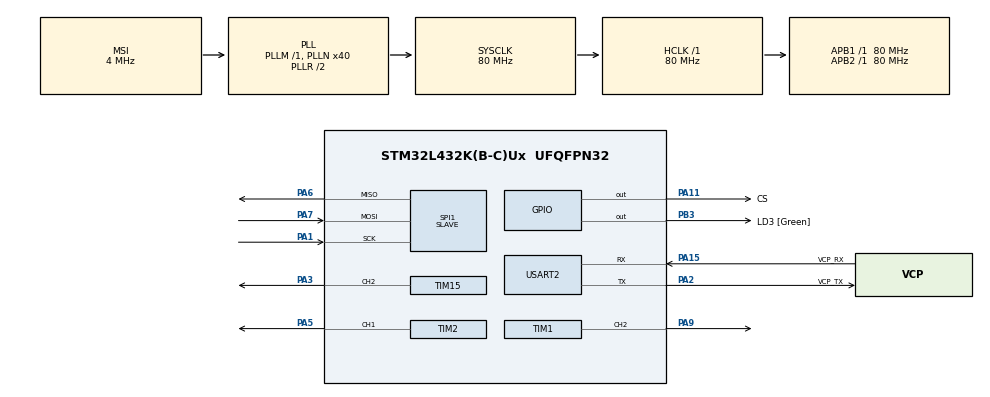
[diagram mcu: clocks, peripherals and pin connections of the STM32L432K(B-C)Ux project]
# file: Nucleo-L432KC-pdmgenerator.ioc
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Dma.Request0=SPI1_TX
Dma.SPI1_TX.0.Direction=DMA_MEMORY_TO_PERIPH
Dma.SPI1_TX.0.Instance=DMA1_Channel3
Dma.SPI1_TX.0.MemDataAlignment=DMA_MDATAALIGN_BYTE
Dma.SPI1_TX.0.MemInc=DMA_MINC_ENABLE
Dma.SPI1_TX.0.Mode=DMA_CIRCULAR
Dma.SPI1_TX.0.PeriphDataAlignment=DMA_PDATAALIGN_BYTE
Dma.SPI1_TX.0.PeriphInc=DMA_PINC_DISABLE
Dma.SPI1_TX.0.Priority=DMA_PRIORITY_LOW
Mcu.Family=STM32L4
Mcu.Name=STM32L432K(B-C)Ux
Mcu.Package=UFQFPN32
NVIC.DMA1_Channel3_IRQn=true\:0\:0\:false\:false\:true\:false\:true
NVIC.PriorityGroup=NVIC_PRIORITYGROUP_4
PA0.GPIO_Label=MCO [High speed clock in]
PA0.Signal=RCC_CK_IN
PA1.Mode=Full_Duplex_Slave
PA1.Signal=SPI1_SCK
PA11.GPIO_Label=CS
PA11.GPIO_Speed=GPIO_SPEED_FREQ_HIGH
PA11.Signal=GPIO_Output
PA13\ (JTMS-SWDIO).GPIO_Label=SWDIO
PA13\ (JTMS-SWDIO).Signal=SYS_JTMS-SWDIO
PA14\ (JTCK-SWCLK).GPIO_Label=SWCLK
PA14\ (JTCK-SWCLK).Signal=SYS_JTCK-SWCLK
PA15\ (JTDI).GPIO_Label=VCP_RX
PA15\ (JTDI).Mode=Asynchronous
PA15\ (JTDI).Signal=USART2_RX
PA2.GPIO_Label=VCP_TX
PA2.Mode=Asynchronous
PA2.Signal=USART2_TX
PA3.GPIO_Speed=GPIO_SPEED_FREQ_VERY_HIGH
PA3.Signal=S_TIM15_CH2
PA5.GPIO_Speed=GPIO_SPEED_FREQ_VERY_HIGH
PA5.Signal=S_TIM2_CH1
PA6.Mode=Full_Duplex_Slave
PA6.Signal=SPI1_MISO
PA7.Mode=Full_Duplex_Slave
PA7.Signal=SPI1_MOSI
PA9.GPIO_Speed=GPIO_SPEED_FREQ_VERY_HIGH
PA9.Signal=S_TIM1_CH2
PB3\ (JTDO-TRACESWO).GPIO_Label=LD3 [Green]
PB3\ (JTDO-TRACESWO).Signal=GPIO_Output
PC14-OSC32_IN\ (PC14).Signal=RCC_OSC32_IN
PC15-OSC32_OUT\ (PC15).Signal=RCC_OSC32_OUT
ProjectManager.HeapSize=0x200
ProjectManager.StackSize=0x400
ProjectManager.TargetToolchain=MDK-ARM V5
RCC.AHBFreq_Value=80000000
RCC.APB1Freq_Value=80000000
RCC.APB1TimFreq_Value=80000000
RCC.APB2Freq_Value=80000000
RCC.APB2TimFreq_Value=80000000
RCC.CortexFreq_Value=80000000
RCC.HCLKFreq_Value=80000000
RCC.HSE_VALUE=8000000
RCC.HSI16_VALUE=16000000
RCC.HSI48_VALUE=48000000
RCC.HSI_VALUE=16000000
RCC.LSE_VALUE=32768
RCC.MSI_VALUE=4000000
RCC.PLLMUL=RCC_PLLMUL_4
RCC.PLLN=40
RCC.SYSCLKFreq_VALUE=80000000
RCC.SYSCLKSource=RCC_SYSCLKSOURCE_PLLCLK
RCC.VCOOutputFreq_Value=160000000
SH.S_TIM15_CH2.0=TIM15_CH2,PWM Generation2 CH2
SH.S_TIM1_CH2.0=TIM1_CH2,PWM Generation2 CH2
SH.S_TIM2_CH1.0=TIM2_CH1,PWM Generation1 CH1
SPI1.DataSize=SPI_DATASIZE_8BIT
SPI1.Direction=SPI_DIRECTION_2LINES
SPI1.FirstBit=SPI_FIRSTBIT_LSB
SPI1.Mode=SPI_MODE_SLAVE
SPI1.VirtualType=VM_SLAVE
TIM1.Channel-PWM\ Generation2\ CH2=TIM_CHANNEL_2
TIM1.Period=3
TIM1.Pulse-PWM\ Generation2\ CH2=2
TIM15.Channel-PWM\ Generation2\ CH2=TIM_CHANNEL_2
TIM15.Period=9
TIM15.Prescaler=7
TIM15.Pulse-PWM\ Generation2\ CH2=5
TIM2.Channel-PWM\ Generation1\ CH1=TIM_CHANNEL_1
TIM2.Period=9
TIM2.Prescaler=0
TIM2.Pulse-PWM\ Generation1\ CH1=5
TIM2.TIM_MasterOutputTrigger=TIM_TRGO_UPDATE
TIM2.TIM_MasterSlaveMode=TIM_MASTERSLAVEMODE_ENABLE
USART2.VirtualMode-Asynchronous=VM_ASYNC
USART2.WordLength=WORDLENGTH_8B
VP_TIM15_VS_ClockSourceINT.Mode=Internal
VP_TIM1_VS_ClockSourceITR.Mode=TriggerSource_ITR1
VP_TIM1_VS_ControllerModeClock.Mode=Clock Mode
VP_TIM2_VS_ClockSourceINT.Mode=Internal
board=NUCLEO-L432KC

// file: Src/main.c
/* USER CODE BEGIN Header */
/**
  ******************************************************************************
  * @file           : main.c
  * @brief          : Main program body
  ******************************************************************************
  * @attention
  *
  * <h2><center>&copy; Copyright (c) 2019 STMicroelectronics.
  * All rights reserved.</center></h2>
  *
  * This software component is licensed by ST under BSD 3-Clause license,
  * the "License"; You may not use this file except in compliance with the
  * License. You may obtain a copy of the License at:
  *                        opensource.org/licenses/BSD-3-Clause
  *
  ******************************************************************************
  */
/* USER CODE END Header */

#include "main.h"

/* USER CODE BEGIN Includes */

/* PDM data as generated by Octave. Each byte contains one PDM bit */
#include "tones/pdm2048kHz/tone512HzA8.h"
#define PDMBUFLEN (sizeof(pdmdata)/8)

/* Contains same PDM data but packed in uint8_t */
uint8_t pdmBuffer8[PDMBUFLEN];

/* USER CODE END Includes */

SPI_HandleTypeDef hspi1;
DMA_HandleTypeDef hdma_spi1_tx;

TIM_HandleTypeDef htim1;
TIM_HandleTypeDef htim2;
TIM_HandleTypeDef htim15;

UART_HandleTypeDef huart2;

/* USER CODE BEGIN PV */
/* Private variables ---------------------------------------------------------*/

/* USER CODE END PV */

void SystemClock_Config(void);
static void MX_GPIO_Init(void);
static void MX_DMA_Init(void);
static void MX_SPI1_Init(void);
static void MX_USART2_UART_Init(void);
static void MX_TIM2_Init(void);
static void MX_TIM1_Init(void);
static void MX_TIM15_Init(void);
/* USER CODE BEGIN PFP */
/* Private function prototypes -----------------------------------------------*/

/* USER CODE END PFP */

int main(void)
{
  /* USER CODE BEGIN 1 */
	HAL_StatusTypeDef retval;
	int i;
  /* USER CODE END 1 */

  /* MCU Configuration--------------------------------------------------------*/

  /* Reset of all peripherals, Initializes the Flash interface and the Systick. */
  HAL_Init();

  /* Configure the system clock */
  SystemClock_Config();

  /* Initialize all configured peripherals */
  MX_GPIO_Init();
  MX_DMA_Init();
  MX_SPI1_Init();
  MX_USART2_UART_Init();
  MX_TIM2_Init();
  MX_TIM1_Init();
  MX_TIM15_Init();
  /* USER CODE BEGIN 2 */

	/* Prepare PDM buffer to be sent via SPI */
	for(i=0; i<sizeof(pdmdata); i++){
		pdmBuffer8[i>>3] |= (pdmdata[i] << (i & 7));
	}

	/* Enable SPI transmission */
	retval = HAL_SPI_Transmit_DMA(&hspi1, pdmBuffer8, sizeof(pdmBuffer8));
	if(retval != HAL_OK)
		while(1);

	/* Start 8MHz clock for Cypress FX2LP. This is also master clock for next one */
	HAL_TIM_PWM_Start(&htim1, TIM_CHANNEL_2);

	/* Enable 2MHz clock to feed microphone emulator. This clock is derived from TIM1 update event
	 * See TIM_Synchronization example.
	 * See "Internal Trigger Connection" table for selecting correct ITRx to be associated to TIM2 TRGO
	 */
	HAL_TIM_PWM_Start(&htim2, TIM_CHANNEL_1);

	/* Enable 1MHz */
	HAL_TIM_PWM_Start(&htim15, TIM_CHANNEL_2);

  /* USER CODE END 2 */

  /* Infinite loop */
  while (1)
  {

    /* USER CODE BEGIN 3 */
		HAL_Delay(200);
  }
  /* USER CODE END 3 */
}

void SystemClock_Config(void)
{
  RCC_OscInitTypeDef RCC_OscInitStruct = {0};
  RCC_ClkInitTypeDef RCC_ClkInitStruct = {0};
  RCC_PeriphCLKInitTypeDef PeriphClkInit = {0};

  /** Initializes the CPU, AHB and APB busses clocks
  */
  RCC_OscInitStruct.OscillatorType = RCC_OSCILLATORTYPE_MSI;
  RCC_OscInitStruct.MSIState = RCC_MSI_ON;
  RCC_OscInitStruct.MSICalibrationValue = 0;
  RCC_OscInitStruct.MSIClockRange = RCC_MSIRANGE_6;
  RCC_OscInitStruct.PLL.PLLState = RCC_PLL_ON;
  RCC_OscInitStruct.PLL.PLLSource = RCC_PLLSOURCE_MSI;
  RCC_OscInitStruct.PLL.PLLM = 1;
  RCC_OscInitStruct.PLL.PLLN = 40;
  RCC_OscInitStruct.PLL.PLLP = RCC_PLLP_DIV7;
  RCC_OscInitStruct.PLL.PLLQ = RCC_PLLQ_DIV2;
  RCC_OscInitStruct.PLL.PLLR = RCC_PLLR_DIV2;
  if (HAL_RCC_OscConfig(&RCC_OscInitStruct) != HAL_OK)
  {
    Error_Handler();
  }
  /** Initializes the CPU, AHB and APB busses clocks
  */
  RCC_ClkInitStruct.ClockType = RCC_CLOCKTYPE_HCLK|RCC_CLOCKTYPE_SYSCLK
                              |RCC_CLOCKTYPE_PCLK1|RCC_CLOCKTYPE_PCLK2;
  RCC_ClkInitStruct.SYSCLKSource = RCC_SYSCLKSOURCE_PLLCLK;
  RCC_ClkInitStruct.AHBCLKDivider = RCC_SYSCLK_DIV1;
  RCC_ClkInitStruct.APB1CLKDivider = RCC_HCLK_DIV1;
  RCC_ClkInitStruct.APB2CLKDivider = RCC_HCLK_DIV1;

  if (HAL_RCC_ClockConfig(&RCC_ClkInitStruct, FLASH_LATENCY_4) != HAL_OK)
  {
    Error_Handler();
  }
  PeriphClkInit.PeriphClockSelection = RCC_PERIPHCLK_USART2;
  PeriphClkInit.Usart2ClockSelection = RCC_USART2CLKSOURCE_PCLK1;
  if (HAL_RCCEx_PeriphCLKConfig(&PeriphClkInit) != HAL_OK)
  {
    Error_Handler();
  }
  /** Configure the main internal regulator output voltage
  */
  if (HAL_PWREx_ControlVoltageScaling(PWR_REGULATOR_VOLTAGE_SCALE1) != HAL_OK)
  {
    Error_Handler();
  }
}

static void MX_SPI1_Init(void)
{

  /* SPI1 parameter configuration*/
  hspi1.Instance = SPI1;
  hspi1.Init.Mode = SPI_MODE_SLAVE;
  hspi1.Init.Direction = SPI_DIRECTION_2LINES;
  hspi1.Init.DataSize = SPI_DATASIZE_8BIT;
  hspi1.Init.CLKPolarity = SPI_POLARITY_LOW;
  hspi1.Init.CLKPhase = SPI_PHASE_1EDGE;
  hspi1.Init.NSS = SPI_NSS_SOFT;
  hspi1.Init.FirstBit = SPI_FIRSTBIT_LSB;
  hspi1.Init.TIMode = SPI_TIMODE_DISABLE;
  hspi1.Init.CRCCalculation = SPI_CRCCALCULATION_DISABLE;
  hspi1.Init.CRCPolynomial = 7;
  hspi1.Init.CRCLength = SPI_CRC_LENGTH_DATASIZE;
  hspi1.Init.NSSPMode = SPI_NSS_PULSE_DISABLE;
  if (HAL_SPI_Init(&hspi1) != HAL_OK)
  {
    Error_Handler();
  }

}

static void MX_TIM1_Init(void)
{

  TIM_SlaveConfigTypeDef sSlaveConfig = {0};
  TIM_MasterConfigTypeDef sMasterConfig = {0};
  TIM_OC_InitTypeDef sConfigOC = {0};
  TIM_BreakDeadTimeConfigTypeDef sBreakDeadTimeConfig = {0};

  htim1.Instance = TIM1;
  htim1.Init.Prescaler = 0;
  htim1.Init.CounterMode = TIM_COUNTERMODE_UP;
  htim1.Init.Period = 3;
  htim1.Init.ClockDivision = TIM_CLOCKDIVISION_DIV1;
  htim1.Init.RepetitionCounter = 0;
  htim1.Init.AutoReloadPreload = TIM_AUTORELOAD_PRELOAD_DISABLE;
  if (HAL_TIM_Base_Init(&htim1) != HAL_OK)
  {
    Error_Handler();
  }
  if (HAL_TIM_PWM_Init(&htim1) != HAL_OK)
  {
    Error_Handler();
  }
  sSlaveConfig.SlaveMode = TIM_SLAVEMODE_EXTERNAL1;
  sSlaveConfig.InputTrigger = TIM_TS_ITR1;
  if (HAL_TIM_SlaveConfigSynchronization(&htim1, &sSlaveConfig) != HAL_OK)
  {
    Error_Handler();
  }
  sMasterConfig.MasterOutputTrigger = TIM_TRGO_RESET;
  sMasterConfig.MasterOutputTrigger2 = TIM_TRGO2_RESET;
  sMasterConfig.MasterSlaveMode = TIM_MASTERSLAVEMODE_DISABLE;
  if (HAL_TIMEx_MasterConfigSynchronization(&htim1, &sMasterConfig) != HAL_OK)
  {
    Error_Handler();
  }
  sConfigOC.OCMode = TIM_OCMODE_PWM1;
  sConfigOC.Pulse = 2;
  sConfigOC.OCPolarity = TIM_OCPOLARITY_HIGH;
  sConfigOC.OCNPolarity = TIM_OCNPOLARITY_HIGH;
  sConfigOC.OCFastMode = TIM_OCFAST_DISABLE;
  sConfigOC.OCIdleState = TIM_OCIDLESTATE_RESET;
  sConfigOC.OCNIdleState = TIM_OCNIDLESTATE_RESET;
  if (HAL_TIM_PWM_ConfigChannel(&htim1, &sConfigOC, TIM_CHANNEL_2) != HAL_OK)
  {
    Error_Handler();
  }
  sBreakDeadTimeConfig.OffStateRunMode = TIM_OSSR_DISABLE;
  sBreakDeadTimeConfig.OffStateIDLEMode = TIM_OSSI_DISABLE;
  sBreakDeadTimeConfig.LockLevel = TIM_LOCKLEVEL_OFF;
  sBreakDeadTimeConfig.DeadTime = 0;
  sBreakDeadTimeConfig.BreakState = TIM_BREAK_DISABLE;
  sBreakDeadTimeConfig.BreakPolarity = TIM_BREAKPOLARITY_HIGH;
  sBreakDeadTimeConfig.BreakFilter = 0;
  sBreakDeadTimeConfig.Break2State = TIM_BREAK2_DISABLE;
  sBreakDeadTimeConfig.Break2Polarity = TIM_BREAK2POLARITY_HIGH;
  sBreakDeadTimeConfig.Break2Filter = 0;
  sBreakDeadTimeConfig.AutomaticOutput = TIM_AUTOMATICOUTPUT_DISABLE;
  if (HAL_TIMEx_ConfigBreakDeadTime(&htim1, &sBreakDeadTimeConfig) != HAL_OK)
  {
    Error_Handler();
  }
  HAL_TIM_MspPostInit(&htim1);

}

static void MX_TIM2_Init(void)
{

  TIM_ClockConfigTypeDef sClockSourceConfig = {0};
  TIM_MasterConfigTypeDef sMasterConfig = {0};
  TIM_OC_InitTypeDef sConfigOC = {0};

  htim2.Instance = TIM2;
  htim2.Init.Prescaler = 0;
  htim2.Init.CounterMode = TIM_COUNTERMODE_UP;
  htim2.Init.Period = 9;
  htim2.Init.ClockDivision = TIM_CLOCKDIVISION_DIV1;
  htim2.Init.AutoReloadPreload = TIM_AUTORELOAD_PRELOAD_DISABLE;
  if (HAL_TIM_Base_Init(&htim2) != HAL_OK)
  {
    Error_Handler();
  }
  sClockSourceConfig.ClockSource = TIM_CLOCKSOURCE_INTERNAL;
  if (HAL_TIM_ConfigClockSource(&htim2, &sClockSourceConfig) != HAL_OK)
  {
    Error_Handler();
  }
  if (HAL_TIM_PWM_Init(&htim2) != HAL_OK)
  {
    Error_Handler();
  }
  sMasterConfig.MasterOutputTrigger = TIM_TRGO_UPDATE;
  sMasterConfig.MasterSlaveMode = TIM_MASTERSLAVEMODE_ENABLE;
  if (HAL_TIMEx_MasterConfigSynchronization(&htim2, &sMasterConfig) != HAL_OK)
  {
    Error_Handler();
  }
  sConfigOC.OCMode = TIM_OCMODE_PWM1;
  sConfigOC.Pulse = 5;
  sConfigOC.OCPolarity = TIM_OCPOLARITY_HIGH;
  sConfigOC.OCFastMode = TIM_OCFAST_DISABLE;
  if (HAL_TIM_PWM_ConfigChannel(&htim2, &sConfigOC, TIM_CHANNEL_1) != HAL_OK)
  {
    Error_Handler();
  }
  HAL_TIM_MspPostInit(&htim2);

}

static void MX_TIM15_Init(void)
{

  TIM_ClockConfigTypeDef sClockSourceConfig = {0};
  TIM_MasterConfigTypeDef sMasterConfig = {0};
  TIM_OC_InitTypeDef sConfigOC = {0};
  TIM_BreakDeadTimeConfigTypeDef sBreakDeadTimeConfig = {0};

  htim15.Instance = TIM15;
  htim15.Init.Prescaler = 7;
  htim15.Init.CounterMode = TIM_COUNTERMODE_UP;
  htim15.Init.Period = 9;
  htim15.Init.ClockDivision = TIM_CLOCKDIVISION_DIV1;
  htim15.Init.RepetitionCounter = 0;
  htim15.Init.AutoReloadPreload = TIM_AUTORELOAD_PRELOAD_DISABLE;
  if (HAL_TIM_Base_Init(&htim15) != HAL_OK)
  {
    Error_Handler();
  }
  sClockSourceConfig.ClockSource = TIM_CLOCKSOURCE_INTERNAL;
  if (HAL_TIM_ConfigClockSource(&htim15, &sClockSourceConfig) != HAL_OK)
  {
    Error_Handler();
  }
  if (HAL_TIM_PWM_Init(&htim15) != HAL_OK)
  {
    Error_Handler();
  }
  sMasterConfig.MasterOutputTrigger = TIM_TRGO_RESET;
  sMasterConfig.MasterSlaveMode = TIM_MASTERSLAVEMODE_DISABLE;
  if (HAL_TIMEx_MasterConfigSynchronization(&htim15, &sMasterConfig) != HAL_OK)
  {
    Error_Handler();
  }
  sConfigOC.OCMode = TIM_OCMODE_PWM1;
  sConfigOC.Pulse = 5;
  sConfigOC.OCPolarity = TIM_OCPOLARITY_HIGH;
  sConfigOC.OCNPolarity = TIM_OCNPOLARITY_HIGH;
  sConfigOC.OCFastMode = TIM_OCFAST_DISABLE;
  sConfigOC.OCIdleState = TIM_OCIDLESTATE_RESET;
  sConfigOC.OCNIdleState = TIM_OCNIDLESTATE_RESET;
  if (HAL_TIM_PWM_ConfigChannel(&htim15, &sConfigOC, TIM_CHANNEL_2) != HAL_OK)
  {
    Error_Handler();
  }
  sBreakDeadTimeConfig.OffStateRunMode = TIM_OSSR_DISABLE;
  sBreakDeadTimeConfig.OffStateIDLEMode = TIM_OSSI_DISABLE;
  sBreakDeadTimeConfig.LockLevel = TIM_LOCKLEVEL_OFF;
  sBreakDeadTimeConfig.DeadTime = 0;
  sBreakDeadTimeConfig.BreakState = TIM_BREAK_DISABLE;
  sBreakDeadTimeConfig.BreakPolarity = TIM_BREAKPOLARITY_HIGH;
  sBreakDeadTimeConfig.AutomaticOutput = TIM_AUTOMATICOUTPUT_DISABLE;
  if (HAL_TIMEx_ConfigBreakDeadTime(&htim15, &sBreakDeadTimeConfig) != HAL_OK)
  {
    Error_Handler();
  }
  HAL_TIM_MspPostInit(&htim15);

}

static void MX_USART2_UART_Init(void)
{

  huart2.Instance = USART2;
  huart2.Init.BaudRate = 115200;
  huart2.Init.WordLength = UART_WORDLENGTH_8B;
  huart2.Init.StopBits = UART_STOPBITS_1;
  huart2.Init.Parity = UART_PARITY_NONE;
  huart2.Init.Mode = UART_MODE_TX_RX;
  huart2.Init.HwFlowCtl = UART_HWCONTROL_NONE;
  huart2.Init.OverSampling = UART_OVERSAMPLING_16;
  huart2.Init.OneBitSampling = UART_ONE_BIT_SAMPLE_DISABLE;
  huart2.AdvancedInit.AdvFeatureInit = UART_ADVFEATURE_NO_INIT;
  if (HAL_UART_Init(&huart2) != HAL_OK)
  {
    Error_Handler();
  }

}

static void MX_DMA_Init(void)
{
  /* DMA controller clock enable */
  __HAL_RCC_DMA1_CLK_ENABLE();

  /* DMA interrupt init */
  /* DMA1_Channel3_IRQn interrupt configuration */
  HAL_NVIC_SetPriority(DMA1_Channel3_IRQn, 0, 0);
  HAL_NVIC_EnableIRQ(DMA1_Channel3_IRQn);

}

static void MX_GPIO_Init(void)
{
  GPIO_InitTypeDef GPIO_InitStruct = {0};

  /* GPIO Ports Clock Enable */
  __HAL_RCC_GPIOC_CLK_ENABLE();
  __HAL_RCC_GPIOA_CLK_ENABLE();
  __HAL_RCC_GPIOB_CLK_ENABLE();

  /*Configure GPIO pin Output Level */
  HAL_GPIO_WritePin(CS_GPIO_Port, CS_Pin, GPIO_PIN_RESET);

  /*Configure GPIO pin Output Level */
  HAL_GPIO_WritePin(LD3_GPIO_Port, LD3_Pin, GPIO_PIN_RESET);

  /*Configure GPIO pin : CS_Pin */
  GPIO_InitStruct.Pin = CS_Pin;
  GPIO_InitStruct.Mode = GPIO_MODE_OUTPUT_PP;
  GPIO_InitStruct.Pull = GPIO_NOPULL;
  GPIO_InitStruct.Speed = GPIO_SPEED_FREQ_HIGH;
  HAL_GPIO_Init(CS_GPIO_Port, &GPIO_InitStruct);

  /*Configure GPIO pin : LD3_Pin */
  GPIO_InitStruct.Pin = LD3_Pin;
  GPIO_InitStruct.Mode = GPIO_MODE_OUTPUT_PP;
  GPIO_InitStruct.Pull = GPIO_NOPULL;
  GPIO_InitStruct.Speed = GPIO_SPEED_FREQ_LOW;
  HAL_GPIO_Init(LD3_GPIO_Port, &GPIO_InitStruct);

}

/* USER CODE BEGIN 4 */
void HAL_SPI_TxCpltCallback(SPI_HandleTypeDef *hspi)
{
	HAL_GPIO_TogglePin(LD3_GPIO_Port, LD3_Pin);
}
/* USER CODE END 4 */

void Error_Handler(void)
{
  while(1)
  {
  }
}

/************************ (C) COPYRIGHT STMicroelectronics *****END OF FILE****/
